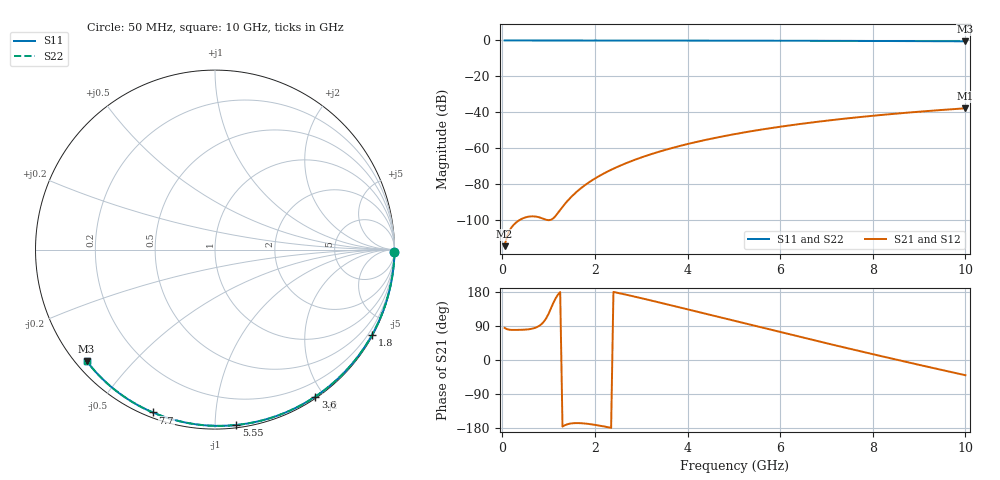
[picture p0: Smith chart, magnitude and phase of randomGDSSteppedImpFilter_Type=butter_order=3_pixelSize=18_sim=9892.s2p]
! freq	dB(S11)	phase(S11)	dB(S12)	phase(S12)
!  dB(S21)	phase(S21)	dB(S22)	phase(S22)
!S-par simulation data
#  GHz  S  DB  R 50
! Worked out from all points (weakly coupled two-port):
!   200 points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, 50 MHz to 10 GHz, reference 50 ohm
!   highest |S21| = -37.86 dB at 10 GHz (marker M1); lowest = -114.8 dB at 50 MHz (marker M2)
!   lowest |S11| = -0.5 dB at 10 GHz (marker M3), VSWR 36.78, Z = 1.55 - j18.6 ohm
!   |S11| at or under -10 dB: nowhere
!   |S22| runs from -0.5 to 0.0 dB; largest |S21 - S12| = 0
!   S11 on the Smith chart (normalised r, x): 50 MHz: open; 1.8 GHz: 0.03, -3.94; 3.6 GHz: 0.02, -1.89; 5.55 GHz: 0.02, -1.13; 7.7 GHz: 0.02, -0.69; 10 GHz: 0.03, -0.37
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0.05  -0.00 -0.8  -114.83 84.7  -114.83 84.7  -0.00 -0.8
0.45  -0.01 -7.2  -99.23 79.9  -99.23 79.9  -0.01 -7.2
0.9  -0.02 -14.4  -99.65 101.5  -99.65 101.5  -0.02 -14.4
1.75  -0.04 -27.7  -81.45 -167.2  -81.45 -167.2  -0.04 -27.7
1.8  -0.04 -28.5  -80.49 -167.8  -80.49 -167.8  -0.04 -28.5
1.85  -0.04 -29.3  -79.59 -168.5  -79.59 -168.5  -0.04 -29.3
2.05  -0.04 -32.4  -76.31 -172.1  -76.31 -172.1  -0.04 -32.4
2.25  -0.05 -35.4  -73.47 -176.6  -73.47 -176.6  -0.05 -35.4
2.55  -0.05 -40.0  -69.83 175.7  -69.83 175.7  -0.05 -40.0
2.95  -0.06 -46.1  -65.78 164.6  -65.78 164.6  -0.06 -46.1
3.4  -0.07 -52.7  -61.99 151.6  -61.99 151.6  -0.07 -52.7
3.6  -0.08 -55.7  -60.50 145.6  -60.50 145.6  -0.08 -55.7
3.9  -0.08 -60.0  -58.46 136.7  -58.46 136.7  -0.08 -60.0
4.3  -0.09 -65.8  -56.02 124.7  -56.02 124.7  -0.09 -65.8
5.05  -0.12 -76.2  -52.13 102.1  -52.13 102.1  -0.12 -76.2
5.55  -0.14 -83.0  -49.93 87.1  -49.93 87.1  -0.14 -83.0
6.1  -0.16 -90.4  -47.79 70.7  -47.79 70.7  -0.16 -90.4
6.7  -0.19 -98.2  -45.73 53.0  -45.73 53.0  -0.19 -98.2
7.7  -0.25 -110.9  -42.81 24.0  -42.81 24.0  -0.25 -110.9
8.35  -0.30 -118.9  -41.20 5.4  -41.20 5.4  -0.30 -118.9
9.2  -0.38 -129.3  -39.36 -18.3  -39.36 -18.3  -0.38 -129.3
10  -0.47 -139.1  -37.86 -40.2  -37.86 -40.2  -0.47 -139.1
